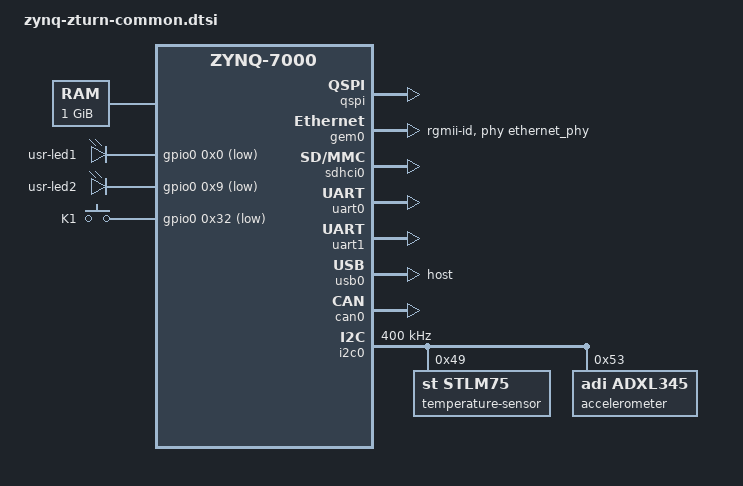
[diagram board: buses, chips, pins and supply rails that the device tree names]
// SPDX-License-Identifier: GPL-2.0
/*
 *  Copyright (C) 2015 Andrea Merello <adnrea.merello@gmail.com>
 *  Copyright (C) 2017 Alexander Graf <agraf@suse.de>
 *
 *  Based on zynq-zed.dts which is:
 *  Copyright (C) 2011 - 2014 Xilinx
 *  Copyright (C) 2012 National Instruments Corp.
 *
 */

/dts-v1/;
/include/ "zynq-7000.dtsi"

/ {
	compatible = "xlnx,zynq-7000";

	aliases {
		ethernet0 = &gem0;
		serial0 = &uart1;
		serial1 = &uart0;
		mmc0 = &sdhci0;
	};

	memory@0 {
		device_type = "memory";
		reg = <0x0 0x40000000>;
	};

	chosen {
		stdout-path = "serial0:115200n8";
	};

	gpio-leds {
		compatible = "gpio-leds";
		usr-led1 {
			label = "usr-led1";
			gpios = <&gpio0 0x0 0x1>;
			default-state = "off";
		};

		usr-led2 {
			label = "usr-led2";
			gpios = <&gpio0 0x9 0x1>;
			default-state = "off";
		};
	};

	gpio-keys {
		compatible = "gpio-keys";
		autorepeat;
		key {
			label = "K1";
			gpios = <&gpio0 0x32 0x1>;
			linux,code = <0x66>;
			wakeup-source;
			autorepeat;
		};
	};
};

&clkc {
	ps-clk-frequency = <33333333>;
};

&qspi {
	bootph-all;
	status = "okay";
};

&gem0 {
	status = "okay";
	phy-mode = "rgmii-id";
	phy-handle = <&ethernet_phy>;

	ethernet_phy: ethernet-phy@0 {
	};
};

&sdhci0 {
	bootph-all;
	status = "okay";
};

&uart0 {
	bootph-all;
	status = "okay";
};

&uart1 {
	bootph-all;
	status = "okay";
};

&usb0 {
	status = "okay";
	dr_mode = "host";
};

&can0 {
	status = "okay";
};

&i2c0 {
	status = "okay";
	clock-frequency = <400000>;

	temperature-sensor@49 {
		status = "okay";
		compatible = "st,stlm75";
		reg = <0x49>;
	};

	accelerometer@53 {
		compatible = "adi,adxl345";
		reg = <0x53>;
		interrupt-parent = <&intc>;
		interrupts = <0x0 0x1e 0x4>;
	};
};
